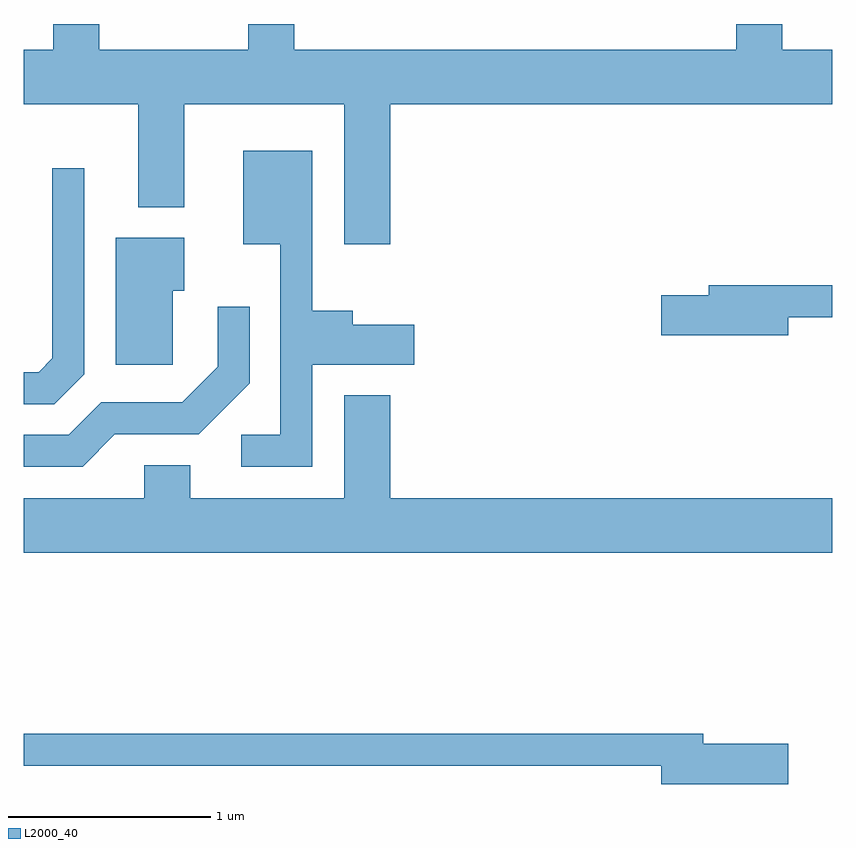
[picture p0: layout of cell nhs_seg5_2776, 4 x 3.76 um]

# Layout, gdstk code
import gdstk
lib = gdstk.Library(unit=1e-6, precision=1e-09)
def P(c, l, *ps):  # polygons
    for p in ps: c.add(gdstk.Polygon(p, *l))
L2000_40 = (2000, 40)

nhs_seg5_2776 = lib.new_cell('nhs_seg5_2776')
P(nhs_seg5_2776, L2000_40, [(269.424,1465.676),(271.611,1465.676),(271.611,1465.944),(271.364,1465.944),(271.364,1466.072),(271.136,1466.072),(271.136,1465.944),(268.949,1465.944),(268.949,1466.072),(268.721,1466.072),(268.721,1465.944),(267.984,1465.944),(267.984,1466.072),(267.756,1466.072),(267.756,1465.944),(267.611,1465.944),(267.611,1465.676),(268.176,1465.676),(268.176,1465.166),(268.404,1465.166),(268.404,1465.676),(269.196,1465.676),(269.196,1464.981),(269.424,1464.981)],
  [(269.039,1464.386),(269.544,1464.386),(269.544,1464.584),(269.239,1464.584),(269.239,1464.654),(269.039,1464.654),(269.039,1465.444),(268.696,1465.444),(268.696,1464.981),(268.881,1464.981),(268.881,1464.039),(268.688,1464.039),(268.688,1463.881),(269.039,1463.881)],
  [(267.909,1464.339),(267.909,1465.358),(267.751,1465.358),(267.751,1464.417),(267.684,1464.349),(267.611,1464.349),(267.611,1464.191),(267.762,1464.191)],
  [(268.349,1464.751),(268.404,1464.751),(268.404,1465.014),(268.066,1465.014),(268.066,1464.386),(268.349,1464.386)],
  [(271.394,1464.621),(271.611,1464.621),(271.611,1464.779),(271.001,1464.779),(271.001,1464.729),(270.766,1464.729),(270.766,1464.531),(271.394,1464.531)],
  [(268.062,1464.041),(268.477,1464.041),(268.729,1464.294),(268.729,1464.673),(268.571,1464.673),(268.571,1464.377),(268.394,1464.199),(267.994,1464.199),(267.834,1464.039),(267.611,1464.039),(267.611,1463.881),(267.902,1463.881)],
  [(271.611,1463.724),(269.424,1463.724),(269.424,1464.234),(269.196,1464.234),(269.196,1463.724),(268.434,1463.724),(268.434,1463.889),(268.206,1463.889),(268.206,1463.724),(267.611,1463.724),(267.611,1463.456),(271.611,1463.456)],
  [(271.394,1462.509),(270.974,1462.509),(270.974,1462.559),(267.611,1462.559),(267.611,1462.401),(270.766,1462.401),(270.766,1462.311),(271.394,1462.311)])

lib.write_gds('nhs_seg5_2776.gds')
